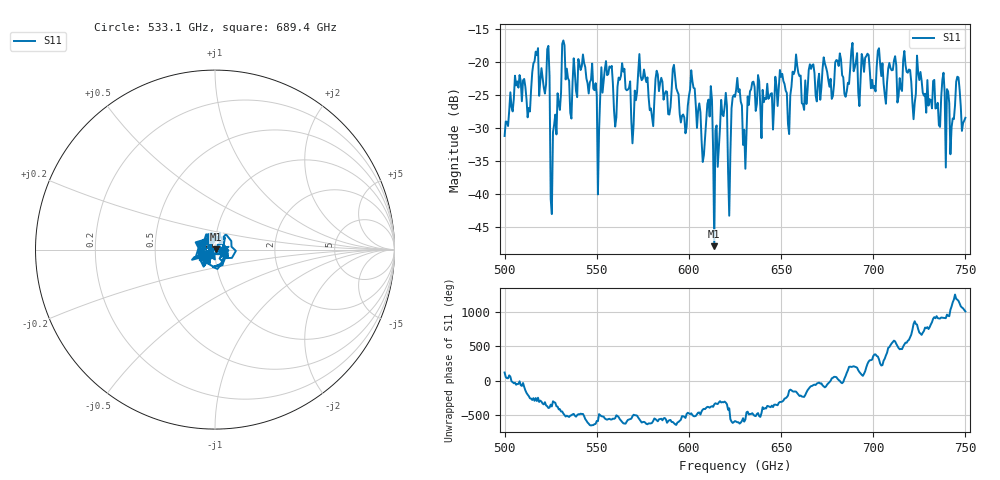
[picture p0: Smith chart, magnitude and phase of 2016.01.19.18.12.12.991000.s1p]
!Created with skrf (http://scikit-rf.org).
# GHz S RI R 50.0
!freq ReS11 ImS11
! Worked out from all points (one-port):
!   401 points, 500 GHz to 750 GHz, reference 50 ohm
!   lowest |S11| = -48.0 dB at 613.8 GHz (marker M1), VSWR 1.01, Z = 50.4 + j0.104 ohm
!   |S11| at or under -10 dB: start of sweep to end of sweep
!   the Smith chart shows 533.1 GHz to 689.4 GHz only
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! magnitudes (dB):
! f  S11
! 500 GHz  -31.2
! 513.1 GHz  -27.0
! 516.9 GHz  -18.4
! 523.1 GHz  -18.1
! 526.2 GHz  -30.6
! 531.2 GHz  -17.2
! 543.1 GHz  -20.1
! 550.6 GHz  -40.1
! 553.8 GHz  -22.8
! 562.5 GHz  -22.7
! 570 GHz  -29.5
! 573.8 GHz  -22.1
! 579.4 GHz  -27.0
! 593.8 GHz  -24.5
! 597.5 GHz  -28.4
! 601.9 GHz  -22.9
! 608.1 GHz  -34.1
! 611.2 GHz  -28.3
! 613.8 GHz  -48.0
! 618.8 GHz  -28.2
! 622.5 GHz  -33.8
! 625 GHz  -25.3
! 630 GHz  -30.3
! 634.4 GHz  -23.1
! 656.2 GHz  -21.5
! 687.5 GHz  -20.9
! 718.8 GHz  -21.6
! 750 GHz  -28.5
